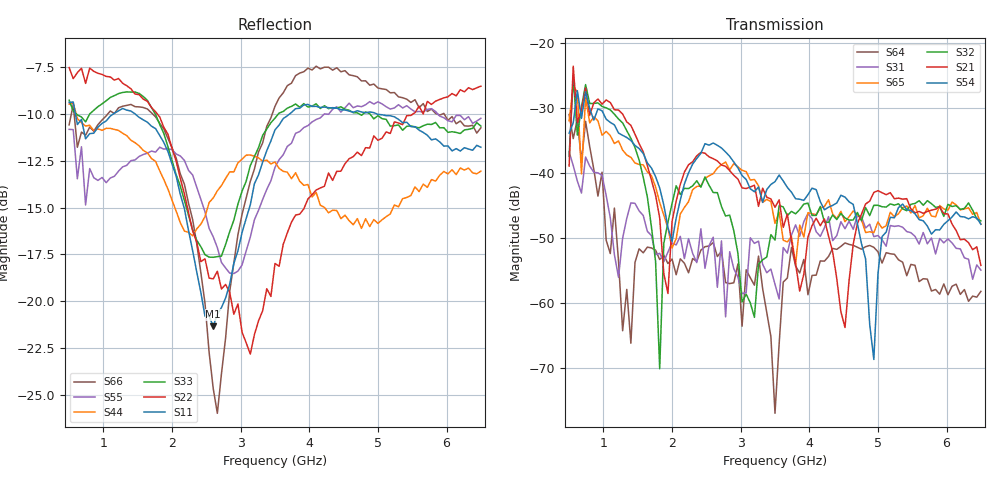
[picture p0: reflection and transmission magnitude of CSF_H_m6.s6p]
!Keysight Technologies,M9804A,MY58100912,A.14.10.03
!Date: Thursday, April 27, 2023 10:28:33
!Correction: S11(C  6-Port  )
!S12(C  6-Port  )
!S13(C  6-Port  )
!S14(C  6-Port  )
!S15(C  6-Port  )
!S16(C  6-Port  )
!S21(C  6-Port  )
!S22(C  6-Port  )
!S23(C  6-Port  )
!S24(C  6-Port  )
!S25(C  6-Port  )
!S26(C  6-Port  )
!S31(C  6-Port  )
!S32(C  6-Port  )
!S33(C  6-Port  )
!S34(C  6-Port  )
!S35(C  6-Port  )
!S36(C  6-Port  )
!S41(C  6-Port  )
!S42(C  6-Port  )
!S43(C  6-Port  )
!S44(C  6-Port  )
!S45(C  6-Port  )
!S46(C  6-Port  )
!S51(C  6-Port  )
!S52(C  6-Port  )
!S53(C  6-Port  )
!S54(C  6-Port  )
!S55(C  6-Port  )
!S56(C  6-Port  )
!S61(C  6-Port  )
!S62(C  6-Port  )
!S63(C  6-Port  )
!S64(C  6-Port  )
!S65(C  6-Port  )
!S66(C  6-Port  )
!S6P File: Measurement: :
# Hz S  RI  R 50
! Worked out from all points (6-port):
!   101 points, 500 MHz to 6.5 GHz, reference 50 ohm
!   strongest paths, dB at 500 MHz, 2 GHz, 3.5 GHz, 5 GHz, 6.5 GHz:
!     S54: -33.9, -50.6, -41.4, -55.6, -47.9
!     S21: -39.0, -47.5, -45.3, -42.8, -54.3
!     S32: -37.5, -44.7, -50.4, -45.0, -47.4
!     S65: -32.0, -51.6, -47.8, -47.6, -47.9
!     S31: -36.8, -50.8, -57.2, -49.7, -55.0
!     S64: -31.0, -53.3, -77.0, -52.2, -58.3
!   lowest |S11| = -21.3 dB at 2.6 GHz (marker M1), VSWR 1.19, Z = 42.4 + j2.28 ohm
!   |S11| at or under -10 dB: 592.2 MHz to 1.14 GHz (548.3 MHz wide, 63.3 % of centre); 1.465 GHz to 3.709 GHz (2.245 GHz wide, 86.8 % of centre); 4.99 GHz to end of sweep
